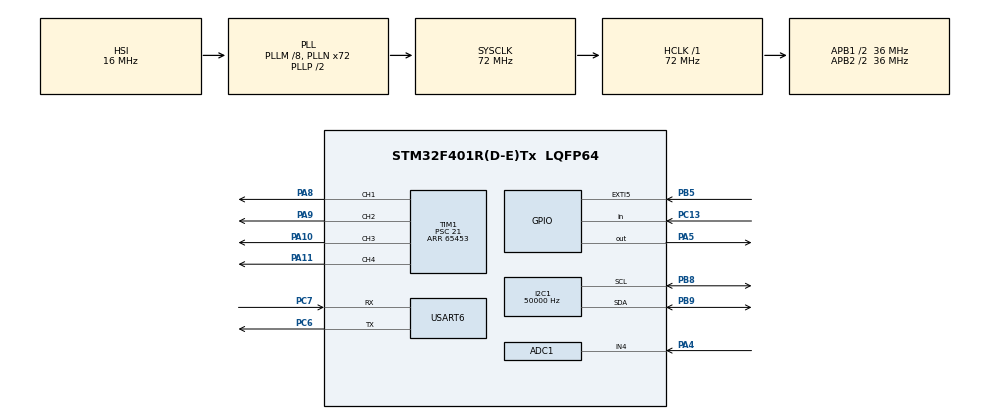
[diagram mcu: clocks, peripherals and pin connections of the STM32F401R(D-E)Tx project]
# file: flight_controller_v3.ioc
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ADC1.Channel-4\#ChannelRegularConversion=ADC_CHANNEL_4
ADC1.NbrOfConversionFlag=1
ADC1.Rank-4\#ChannelRegularConversion=1
ADC1.SamplingTime-4\#ChannelRegularConversion=ADC_SAMPLETIME_3CYCLES
ADC1.master=1
Dma.Request0=USART6_RX
Dma.USART6_RX.0.Direction=DMA_PERIPH_TO_MEMORY
Dma.USART6_RX.0.FIFOMode=DMA_FIFOMODE_DISABLE
Dma.USART6_RX.0.Instance=DMA2_Stream1
Dma.USART6_RX.0.MemDataAlignment=DMA_MDATAALIGN_BYTE
Dma.USART6_RX.0.MemInc=DMA_MINC_ENABLE
Dma.USART6_RX.0.Mode=DMA_CIRCULAR
Dma.USART6_RX.0.PeriphDataAlignment=DMA_PDATAALIGN_BYTE
Dma.USART6_RX.0.PeriphInc=DMA_PINC_DISABLE
Dma.USART6_RX.0.Priority=DMA_PRIORITY_LOW
I2C1.ClockSpeed=50000
Mcu.Family=STM32F4
Mcu.Name=STM32F401R(D-E)Tx
Mcu.Package=LQFP64
NVIC.DMA2_Stream1_IRQn=true\:0\:0\:false\:false\:true\:false\:true\:true
NVIC.I2C1_EV_IRQn=true\:0\:0\:false\:false\:true\:true\:true\:true
NVIC.PriorityGroup=NVIC_PRIORITYGROUP_0
PA10.Signal=S_TIM1_CH3
PA11.Signal=S_TIM1_CH4
PA4.Signal=ADCx_IN4
PA5.Signal=GPIO_Output
PA8.Signal=S_TIM1_CH1
PA9.Signal=S_TIM1_CH2
PB5.Signal=GPXTI5
PB8.Mode=I2C
PB8.Signal=I2C1_SCL
PB9.Mode=I2C
PB9.Signal=I2C1_SDA
PC13-ANTI_TAMP.Signal=GPIO_Input
PC6.Mode=Asynchronous
PC6.Signal=USART6_TX
PC7.Mode=Asynchronous
PC7.Signal=USART6_RX
ProjectManager.HeapSize=0x200
ProjectManager.StackSize=0x400
ProjectManager.TargetToolchain=STM32CubeIDE
RCC.48MHZClocksFreq_Value=20571428.57142857
RCC.AHBFreq_Value=72000000
RCC.APB1CLKDivider=RCC_HCLK_DIV2
RCC.APB1Freq_Value=36000000
RCC.APB1TimFreq_Value=72000000
RCC.APB2CLKDivider=RCC_HCLK_DIV2
RCC.APB2Freq_Value=36000000
RCC.APB2TimFreq_Value=72000000
RCC.CortexFreq_Value=72000000
RCC.HCLKFreq_Value=72000000
RCC.HSE_VALUE=8000000
RCC.HSI_VALUE=16000000
RCC.LSE_VALUE=32768
RCC.PLLM=8
RCC.PLLN=72
RCC.PLLQ=7
RCC.SYSCLKFreq_VALUE=72000000
RCC.SYSCLKSource=RCC_SYSCLKSOURCE_PLLCLK
RCC.VCOOutputFreq_Value=144000000
SH.ADCx_IN4.0=ADC1_IN4,IN4
SH.S_TIM1_CH1.0=TIM1_CH1,PWM Generation1 CH1
SH.S_TIM1_CH2.0=TIM1_CH2,PWM Generation2 CH2
SH.S_TIM1_CH3.0=TIM1_CH3,PWM Generation3 CH3
SH.S_TIM1_CH4.0=TIM1_CH4,PWM Generation4 CH4
TIM1.Channel-PWM\ Generation1\ CH1=TIM_CHANNEL_1
TIM1.Channel-PWM\ Generation2\ CH2=TIM_CHANNEL_2
TIM1.Channel-PWM\ Generation3\ CH3=TIM_CHANNEL_3
TIM1.Channel-PWM\ Generation4\ CH4=TIM_CHANNEL_4
TIM1.Period=65453
TIM1.Prescaler=21
TIM2.Period=999
TIM2.Prescaler=83
USART6.VirtualMode=VM_ASYNC
VP_TIM2_VS_ClockSourceINT.Mode=Internal
board=NUCLEO-F401RE

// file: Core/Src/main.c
/* USER CODE BEGIN Header */
/**
  ******************************************************************************
  * @file           : main.c
  * @brief          : Main program body
  ******************************************************************************
  * @attention
  *
  * Copyright (c) 2026 STMicroelectronics.
  * All rights reserved.
  *
  * This software is licensed under terms that can be found in the LICENSE file
  * in the root directory of this software component.
  * If no LICENSE file comes with this software, it is provided AS-IS.
  *
  ******************************************************************************
  */
/* USER CODE END Header */
#include "main.h"

/* USER CODE BEGIN Includes */
#include "FlightController.h"
/* USER CODE END Includes */

/* USER CODE BEGIN PD */
//PA11 -> Forward Right
//PA10 -> Backwards Left
//PA9 -> FOWRAWD LEFT
//PA8 -> Backward Right
#define ALL_MOTORS (GPIO_PIN_8 | GPIO_PIN_9 | GPIO_PIN_10 | GPIO_PIN_11)

/* USER CODE END PD */

ADC_HandleTypeDef hadc1;

I2C_HandleTypeDef hi2c1;

TIM_HandleTypeDef htim1;
TIM_HandleTypeDef htim2;

UART_HandleTypeDef huart6;
DMA_HandleTypeDef hdma_usart6_rx;

/* USER CODE BEGIN PV */
MPU6050_Handle_t mpu;
HMC5883L_Handle_t hmc;
BMP280_Handle_t bmp;
Motor_t motors;
Drone_t drone;

PID_Controller_t pitch_pid;
PID_Controller_t roll_pid;
PID_Controller_t yaw_pid;
PID_Controller_t alt_pid;

RC_Command_t rc_cmd;
State_Estimator_t state;

// Debug variables for sensor monitoring
// MPU6050 (Accelerometer + Gyroscope)
float debug_mpu_roll = 0.0f;
float debug_mpu_pitch = 0.0f;
float debug_mpu_accel_x = 0.0f;
float debug_mpu_accel_y = 0.0f;
float debug_mpu_accel_z = 0.0f;
float debug_mpu_gyro_x = 0.0f;
float debug_mpu_gyro_y = 0.0f;
float debug_mpu_gyro_z = 0.0f;

// HMC5883L (Magnetometer)
float debug_mag_x = 0.0f;
float debug_mag_y = 0.0f;
float debug_mag_z = 0.0f;
float debug_mag_yaw = 0.0f;
float debug_mag_heading = 0.0f;

// BMP280 (Barometer)
float debug_bmp_temperature = 0.0f;
float debug_bmp_pressure = 0.0f;
float debug_bmp_altitude = 0.0f;

// RC Command debug
uint16_t debug_rc_throttle = 0;
float debug_rc_roll = 0.0f;
float debug_rc_pitch = 0.0f;
float debug_rc_yaw = 0.0f;
uint16_t debug_rc_arm_value = 0;

// State Estimator debug
float debug_state_roll = 0.0f;
float debug_state_pitch = 0.0f;
float debug_state_yaw = 0.0f;
float debug_state_altitude = 0.0f;
float debug_state_climb_rate = 0.0f;

/* USER CODE END PV */

void SystemClock_Config(void);
static void MX_GPIO_Init(void);
static void MX_DMA_Init(void);
static void MX_I2C1_Init(void);
static void MX_ADC1_Init(void);
static void MX_TIM2_Init(void);
static void MX_TIM1_Init(void);
static void MX_USART6_UART_Init(void);
/* USER CODE BEGIN PFP */
HAL_StatusTypeDef flight_controller_init();

/* USER CODE END PFP */

int main(void)
{

  /* MCU Configuration--------------------------------------------------------*/

  /* Reset of all peripherals, Initializes the Flash interface and the Systick. */
  HAL_Init();

  /* Configure the system clock */
  SystemClock_Config();

  /* Initialize all configured peripherals */
  MX_GPIO_Init();
  MX_DMA_Init();
  MX_I2C1_Init();
  MX_ADC1_Init();
  MX_TIM2_Init();
  MX_TIM1_Init();
  MX_USART6_UART_Init();
  /* USER CODE BEGIN 2 */

  // Enable UART2 interrupt-based character reception for tuning commands
  HAL_TIM_Base_Start_IT(&htim2);

  // Wait for button press to initialize flight controller
  uint8_t button_pressed_prev = 0;
  while (HAL_GPIO_ReadPin(GPIOC, GPIO_PIN_13)){
    HAL_Delay(10);
  }
  flight_controller_init();

  /* USER CODE END 2 */

  /* Infinite loop */
  while (1)
  {

    /* USER CODE BEGIN 3 */

    // Debug: Read and store sensor data in global variables
    // MPU6050 data
    debug_mpu_roll = mpu.roll;
    debug_mpu_pitch = mpu.pitch;
    debug_mpu_accel_x = mpu.accel_x;
    debug_mpu_accel_y = mpu.accel_y;
    debug_mpu_accel_z = mpu.accel_z;
    debug_mpu_gyro_x = mpu.gyro_x;
    debug_mpu_gyro_y = mpu.gyro_y;
    debug_mpu_gyro_z = mpu.gyro_z;

    // HMC5883L data
    debug_mag_x = hmc.mag_x;
    debug_mag_y = hmc.mag_y;
    debug_mag_z = hmc.mag_z;
    debug_mag_yaw = hmc.yaw;
    debug_mag_heading = hmc.heading;

    // BMP280 data
    debug_bmp_temperature = bmp.temperature;
    debug_bmp_pressure = bmp.pressure;
    debug_bmp_altitude = bmp.altitude;

    // RC command data
    debug_rc_throttle = rc_cmd.throttle;
    debug_rc_roll = rc_cmd.roll;
    debug_rc_pitch = rc_cmd.pitch;
    debug_rc_yaw = rc_cmd.yaw;
    debug_rc_arm_value = rc_cmd.arm_value;

    // State estimator data
    debug_state_roll = state.roll;
    debug_state_pitch = state.pitch;
    debug_state_yaw = state.yaw;
    debug_state_altitude = state.altitude;
    debug_state_climb_rate = state.climb_rate;

    HAL_Delay(10);

  }
  /* USER CODE END 3 */
}

void SystemClock_Config(void)
{
  RCC_OscInitTypeDef RCC_OscInitStruct = {0};
  RCC_ClkInitTypeDef RCC_ClkInitStruct = {0};

  /** Configure the main internal regulator output voltage
  */
  __HAL_RCC_PWR_CLK_ENABLE();
  __HAL_PWR_VOLTAGESCALING_CONFIG(PWR_REGULATOR_VOLTAGE_SCALE2);

  /** Initializes the RCC Oscillators according to the specified parameters
  * in the RCC_OscInitTypeDef structure.
  */
  RCC_OscInitStruct.OscillatorType = RCC_OSCILLATORTYPE_HSI;
  RCC_OscInitStruct.HSIState = RCC_HSI_ON;
  RCC_OscInitStruct.HSICalibrationValue = RCC_HSICALIBRATION_DEFAULT;
  RCC_OscInitStruct.PLL.PLLState = RCC_PLL_ON;
  RCC_OscInitStruct.PLL.PLLSource = RCC_PLLSOURCE_HSI;
  RCC_OscInitStruct.PLL.PLLM = 8;
  RCC_OscInitStruct.PLL.PLLN = 72;
  RCC_OscInitStruct.PLL.PLLP = RCC_PLLP_DIV2;
  RCC_OscInitStruct.PLL.PLLQ = 7;
  if (HAL_RCC_OscConfig(&RCC_OscInitStruct) != HAL_OK)
  {
    Error_Handler();
  }

  /** Initializes the CPU, AHB and APB buses clocks
  */
  RCC_ClkInitStruct.ClockType = RCC_CLOCKTYPE_HCLK|RCC_CLOCKTYPE_SYSCLK
                              |RCC_CLOCKTYPE_PCLK1|RCC_CLOCKTYPE_PCLK2;
  RCC_ClkInitStruct.SYSCLKSource = RCC_SYSCLKSOURCE_PLLCLK;
  RCC_ClkInitStruct.AHBCLKDivider = RCC_SYSCLK_DIV1;
  RCC_ClkInitStruct.APB1CLKDivider = RCC_HCLK_DIV2;
  RCC_ClkInitStruct.APB2CLKDivider = RCC_HCLK_DIV2;

  if (HAL_RCC_ClockConfig(&RCC_ClkInitStruct, FLASH_LATENCY_2) != HAL_OK)
  {
    Error_Handler();
  }
}

static void MX_ADC1_Init(void)
{

  ADC_ChannelConfTypeDef sConfig = {0};

  /** Configure the global features of the ADC (Clock, Resolution, Data Alignment and number of conversion)
  */
  hadc1.Instance = ADC1;
  hadc1.Init.ClockPrescaler = ADC_CLOCK_SYNC_PCLK_DIV2;
  hadc1.Init.Resolution = ADC_RESOLUTION_12B;
  hadc1.Init.ScanConvMode = DISABLE;
  hadc1.Init.ContinuousConvMode = DISABLE;
  hadc1.Init.DiscontinuousConvMode = DISABLE;
  hadc1.Init.ExternalTrigConvEdge = ADC_EXTERNALTRIGCONVEDGE_NONE;
  hadc1.Init.ExternalTrigConv = ADC_SOFTWARE_START;
  hadc1.Init.DataAlign = ADC_DATAALIGN_RIGHT;
  hadc1.Init.NbrOfConversion = 1;
  hadc1.Init.DMAContinuousRequests = DISABLE;
  hadc1.Init.EOCSelection = ADC_EOC_SINGLE_CONV;
  if (HAL_ADC_Init(&hadc1) != HAL_OK)
  {
    Error_Handler();
  }

  /** Configure for the selected ADC regular channel its corresponding rank in the sequencer and its sample time.
  */
  sConfig.Channel = ADC_CHANNEL_4;
  sConfig.Rank = 1;
  sConfig.SamplingTime = ADC_SAMPLETIME_3CYCLES;
  if (HAL_ADC_ConfigChannel(&hadc1, &sConfig) != HAL_OK)
  {
    Error_Handler();
  }

}

static void MX_I2C1_Init(void)
{

  hi2c1.Instance = I2C1;
  hi2c1.Init.ClockSpeed = 50000;
  hi2c1.Init.DutyCycle = I2C_DUTYCYCLE_2;
  hi2c1.Init.OwnAddress1 = 0;
  hi2c1.Init.AddressingMode = I2C_ADDRESSINGMODE_7BIT;
  hi2c1.Init.DualAddressMode = I2C_DUALADDRESS_DISABLE;
  hi2c1.Init.OwnAddress2 = 0;
  hi2c1.Init.GeneralCallMode = I2C_GENERALCALL_DISABLE;
  hi2c1.Init.NoStretchMode = I2C_NOSTRETCH_DISABLE;
  if (HAL_I2C_Init(&hi2c1) != HAL_OK)
  {
    Error_Handler();
  }

}

static void MX_TIM1_Init(void)
{

  TIM_MasterConfigTypeDef sMasterConfig = {0};
  TIM_OC_InitTypeDef sConfigOC = {0};
  TIM_BreakDeadTimeConfigTypeDef sBreakDeadTimeConfig = {0};

  htim1.Instance = TIM1;
  htim1.Init.Prescaler = 21;
  htim1.Init.CounterMode = TIM_COUNTERMODE_UP;
  htim1.Init.Period = 65453;
  htim1.Init.ClockDivision = TIM_CLOCKDIVISION_DIV1;
  htim1.Init.RepetitionCounter = 0;
  htim1.Init.AutoReloadPreload = TIM_AUTORELOAD_PRELOAD_DISABLE;
  if (HAL_TIM_PWM_Init(&htim1) != HAL_OK)
  {
    Error_Handler();
  }
  sMasterConfig.MasterOutputTrigger = TIM_TRGO_RESET;
  sMasterConfig.MasterSlaveMode = TIM_MASTERSLAVEMODE_DISABLE;
  if (HAL_TIMEx_MasterConfigSynchronization(&htim1, &sMasterConfig) != HAL_OK)
  {
    Error_Handler();
  }
  sConfigOC.OCMode = TIM_OCMODE_PWM1;
  sConfigOC.Pulse = 0;
  sConfigOC.OCPolarity = TIM_OCPOLARITY_HIGH;
  sConfigOC.OCNPolarity = TIM_OCNPOLARITY_HIGH;
  sConfigOC.OCFastMode = TIM_OCFAST_DISABLE;
  sConfigOC.OCIdleState = TIM_OCIDLESTATE_RESET;
  sConfigOC.OCNIdleState = TIM_OCNIDLESTATE_RESET;
  if (HAL_TIM_PWM_ConfigChannel(&htim1, &sConfigOC, TIM_CHANNEL_1) != HAL_OK)
  {
    Error_Handler();
  }
  if (HAL_TIM_PWM_ConfigChannel(&htim1, &sConfigOC, TIM_CHANNEL_2) != HAL_OK)
  {
    Error_Handler();
  }
  if (HAL_TIM_PWM_ConfigChannel(&htim1, &sConfigOC, TIM_CHANNEL_3) != HAL_OK)
  {
    Error_Handler();
  }
  if (HAL_TIM_PWM_ConfigChannel(&htim1, &sConfigOC, TIM_CHANNEL_4) != HAL_OK)
  {
    Error_Handler();
  }
  sBreakDeadTimeConfig.OffStateRunMode = TIM_OSSR_DISABLE;
  sBreakDeadTimeConfig.OffStateIDLEMode = TIM_OSSI_DISABLE;
  sBreakDeadTimeConfig.LockLevel = TIM_LOCKLEVEL_OFF;
  sBreakDeadTimeConfig.DeadTime = 0;
  sBreakDeadTimeConfig.BreakState = TIM_BREAK_DISABLE;
  sBreakDeadTimeConfig.BreakPolarity = TIM_BREAKPOLARITY_HIGH;
  sBreakDeadTimeConfig.AutomaticOutput = TIM_AUTOMATICOUTPUT_DISABLE;
  if (HAL_TIMEx_ConfigBreakDeadTime(&htim1, &sBreakDeadTimeConfig) != HAL_OK)
  {
    Error_Handler();
  }
  HAL_TIM_MspPostInit(&htim1);

}

static void MX_TIM2_Init(void)
{

  TIM_ClockConfigTypeDef sClockSourceConfig = {0};
  TIM_MasterConfigTypeDef sMasterConfig = {0};

  htim2.Instance = TIM2;
  htim2.Init.Prescaler = 83;
  htim2.Init.CounterMode = TIM_COUNTERMODE_UP;
  htim2.Init.Period = 999;
  htim2.Init.ClockDivision = TIM_CLOCKDIVISION_DIV1;
  htim2.Init.AutoReloadPreload = TIM_AUTORELOAD_PRELOAD_DISABLE;
  if (HAL_TIM_Base_Init(&htim2) != HAL_OK)
  {
    Error_Handler();
  }
  sClockSourceConfig.ClockSource = TIM_CLOCKSOURCE_INTERNAL;
  if (HAL_TIM_ConfigClockSource(&htim2, &sClockSourceConfig) != HAL_OK)
  {
    Error_Handler();
  }
  sMasterConfig.MasterOutputTrigger = TIM_TRGO_RESET;
  sMasterConfig.MasterSlaveMode = TIM_MASTERSLAVEMODE_DISABLE;
  if (HAL_TIMEx_MasterConfigSynchronization(&htim2, &sMasterConfig) != HAL_OK)
  {
    Error_Handler();
  }

}

static void MX_USART6_UART_Init(void)
{

  huart6.Instance = USART6;
  huart6.Init.BaudRate = 115200;
  huart6.Init.WordLength = UART_WORDLENGTH_8B;
  huart6.Init.StopBits = UART_STOPBITS_1;
  huart6.Init.Parity = UART_PARITY_NONE;
  huart6.Init.Mode = UART_MODE_TX_RX;
  huart6.Init.HwFlowCtl = UART_HWCONTROL_NONE;
  huart6.Init.OverSampling = UART_OVERSAMPLING_16;
  if (HAL_UART_Init(&huart6) != HAL_OK)
  {
    Error_Handler();
  }

}

static void MX_DMA_Init(void)
{

  /* DMA controller clock enable */
  __HAL_RCC_DMA2_CLK_ENABLE();

  /* DMA interrupt init */
  /* DMA2_Stream1_IRQn interrupt configuration */
  HAL_NVIC_SetPriority(DMA2_Stream1_IRQn, 0, 0);
  HAL_NVIC_EnableIRQ(DMA2_Stream1_IRQn);

}

static void MX_GPIO_Init(void)
{
  GPIO_InitTypeDef GPIO_InitStruct = {0};

  /* GPIO Ports Clock Enable */
  __HAL_RCC_GPIOC_CLK_ENABLE();
  __HAL_RCC_GPIOA_CLK_ENABLE();
  __HAL_RCC_GPIOB_CLK_ENABLE();

  /*Configure GPIO pin Output Level */
  HAL_GPIO_WritePin(GPIOA, GPIO_PIN_5, GPIO_PIN_RESET);

  /*Configure GPIO pin : PC13 */
  GPIO_InitStruct.Pin = GPIO_PIN_13;
  GPIO_InitStruct.Mode = GPIO_MODE_INPUT;
  GPIO_InitStruct.Pull = GPIO_NOPULL;
  HAL_GPIO_Init(GPIOC, &GPIO_InitStruct);

  /*Configure GPIO pin : PA5 */
  GPIO_InitStruct.Pin = GPIO_PIN_5;
  GPIO_InitStruct.Mode = GPIO_MODE_OUTPUT_PP;
  GPIO_InitStruct.Pull = GPIO_NOPULL;
  GPIO_InitStruct.Speed = GPIO_SPEED_FREQ_LOW;
  HAL_GPIO_Init(GPIOA, &GPIO_InitStruct);

  /*Configure GPIO pin : PB5 */
  GPIO_InitStruct.Pin = GPIO_PIN_5;
  GPIO_InitStruct.Mode = GPIO_MODE_IT_RISING;
  GPIO_InitStruct.Pull = GPIO_NOPULL;
  HAL_GPIO_Init(GPIOB, &GPIO_InitStruct);

}

/* USER CODE BEGIN 4 */
HAL_StatusTypeDef flight_controller_init(){
	 /*************** SENSORS + ACTUATORS INIT *******************/
	  MPU6050_Init(&mpu, &hi2c1, MPU6050_I2C_ADDR_LOW);
	  MPU6050_Calibrate(&mpu, 1000);
	  MPU6050_Start_Reading(&mpu);
	  ibus_uart_init(&huart6);
//	  if (HMC5883L_Init(&hmc, &hi2c1, HMC5883L_I2C_ADDR) != HAL_OK){
//		  return HAL_ERROR;
//	  }
	  //BMP280_Init(&bmp, &hi2c1);
	  ESC_PWM_Init(&htim1);
	  /*************************** CONTROL SYSTEM INIT *******************/
	  pid_init(&roll_pid, &pitch_pid, &yaw_pid, &alt_pid);
	/********************** DRONE STRUCTURE INIT  ************************/
	  drone.hmc = &hmc;
	  drone.mpu = &mpu;
	  drone.bmp = &bmp;
	  drone.motor_out = &motors;

	  drone.alt_pid = &alt_pid;
	  drone.pitch_pid = &pitch_pid;
	  drone.roll_pid = &roll_pid;
	  drone.yaw_pid = &yaw_pid;

	  drone.rc_cmd = &rc_cmd;
	  drone.state = &state;

	  ESC_PWM_Calibrate (&htim1, 3000);

	  drone.calib_state = CALIBRATED;
	  return HAL_OK;
}

/* USER CODE END 4 */

void Error_Handler(void)
{
  __disable_irq();
  while (1)
  {
  }
}
